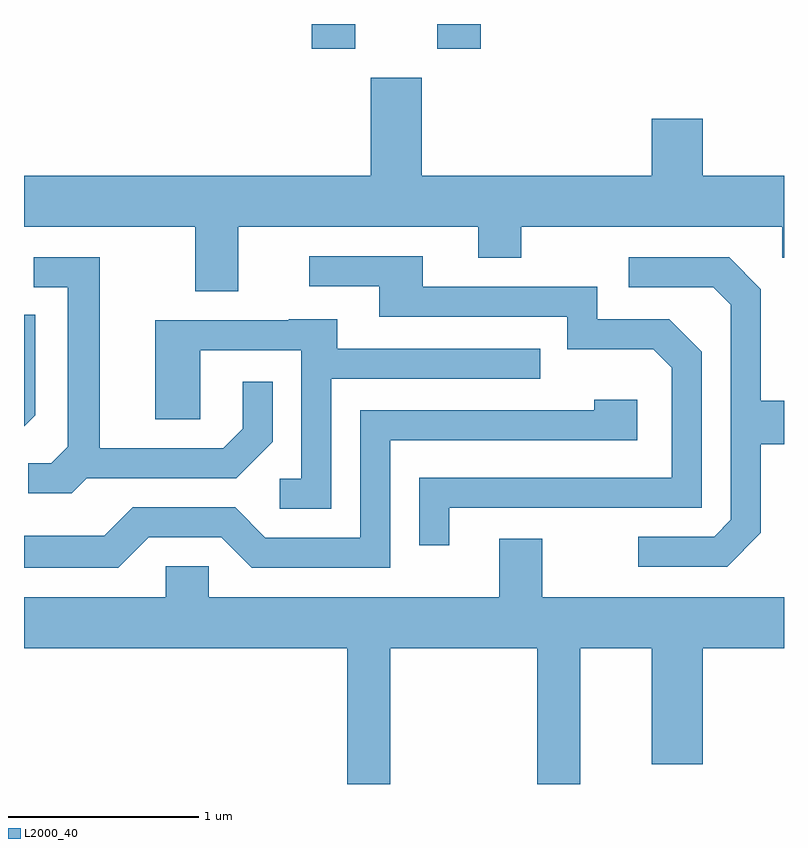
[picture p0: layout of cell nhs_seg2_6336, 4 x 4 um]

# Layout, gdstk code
import gdstk
lib = gdstk.Library(unit=1e-6, precision=1e-09)
def R(c, l, rs):  # rectangles x0, y0, x1, y1
    for r in rs: c.add(gdstk.rectangle(r[:2], r[2:], *l))
def P(c, l, *ps):  # polygons
    for p in ps: c.add(gdstk.Polygon(p, *l))
L2000_40 = (2000, 40)

nhs_seg2_6336 = lib.new_cell('nhs_seg2_6336')
R(nhs_seg2_6336, L2000_40, [(373.126,1073.671,373.354,1073.802), (373.786,1073.671,374.014,1073.802)])
P(nhs_seg2_6336, L2000_40, [(372.739,1072.736),(374.001,1072.736),(374.001,1072.571),(374.229,1072.571),(374.229,1072.736),(375.601,1072.736),(375.601,1072.571),(375.611,1072.571),(375.611,1073.004),(375.184,1073.004),(375.184,1073.304),(374.916,1073.304),(374.916,1073.004),(373.704,1073.004),(373.704,1073.519),(373.436,1073.519),(373.436,1073.004),(371.611,1073.004),(371.611,1072.736),(372.511,1072.736),(372.511,1072.396),(372.739,1072.396)],
  [(373.849,1071.256),(375.179,1071.256),(375.179,1072.077),(375.007,1072.249),(374.629,1072.249),(374.629,1072.419),(373.709,1072.419),(373.709,1072.579),(373.113,1072.579),(373.113,1072.421),(373.481,1072.421),(373.481,1072.261),(374.471,1072.261),(374.471,1072.091),(374.924,1072.091),(375.021,1071.994),(375.021,1071.414),(373.691,1071.414),(373.691,1071.058),(373.849,1071.058)],
  [(375.489,1071.124),(375.489,1071.591),(375.611,1071.591),(375.611,1071.819),(375.489,1071.819),(375.489,1072.407),(375.322,1072.574),(374.793,1072.574),(374.793,1072.416),(375.239,1072.416),(375.331,1072.324),(375.331,1071.192),(375.244,1071.104),(374.843,1071.104),(374.843,1070.946),(375.312,1070.946)],
  [(371.942,1071.411),(372.727,1071.411),(372.919,1071.604),(372.919,1071.918),(372.761,1071.918),(372.761,1071.672),(372.659,1071.569),(372.009,1071.569),(372.009,1072.574),(371.663,1072.574),(371.663,1072.416),(371.841,1072.416),(371.841,1071.577),(371.754,1071.489),(371.633,1071.489),(371.633,1071.331),(371.862,1071.331)],
  [(371.669,1071.744),(371.669,1072.273),(371.611,1072.273),(371.611,1071.686)],
  [(373.229,1071.936),(374.328,1071.936),(374.328,1072.094),(373.259,1072.094),(373.259,1072.249),(373.005,1072.249),(373.005,1072.244),(372.301,1072.244),(372.301,1071.721),(372.539,1071.721),(372.539,1072.086),(373.071,1072.086),(373.071,1071.409),(372.958,1071.409),(372.958,1071.251),(373.229,1071.251)],
  [(372.267,1071.101),(372.649,1071.101),(372.809,1070.941),(373.539,1070.941),(373.539,1071.611),(374.839,1071.611),(374.839,1071.824),(374.611,1071.824),(374.611,1071.769),(373.381,1071.769),(373.381,1071.099),(372.882,1071.099),(372.722,1071.259),(372.184,1071.259),(372.034,1071.109),(371.611,1071.109),(371.611,1070.941),(372.107,1070.941)],
  [(373.539,1070.516),(374.311,1070.516),(374.311,1069.802),(374.539,1069.802),(374.539,1070.516),(374.916,1070.516),(374.916,1069.906),(375.184,1069.906),(375.184,1070.516),(375.611,1070.516),(375.611,1070.784),(374.339,1070.784),(374.339,1071.094),(374.111,1071.094),(374.111,1070.784),(372.584,1070.784),(372.584,1070.949),(372.356,1070.949),(372.356,1070.784),(371.611,1070.784),(371.611,1070.516),(373.311,1070.516),(373.311,1069.802),(373.539,1069.802)])

lib.write_gds('nhs_seg2_6336.gds')
